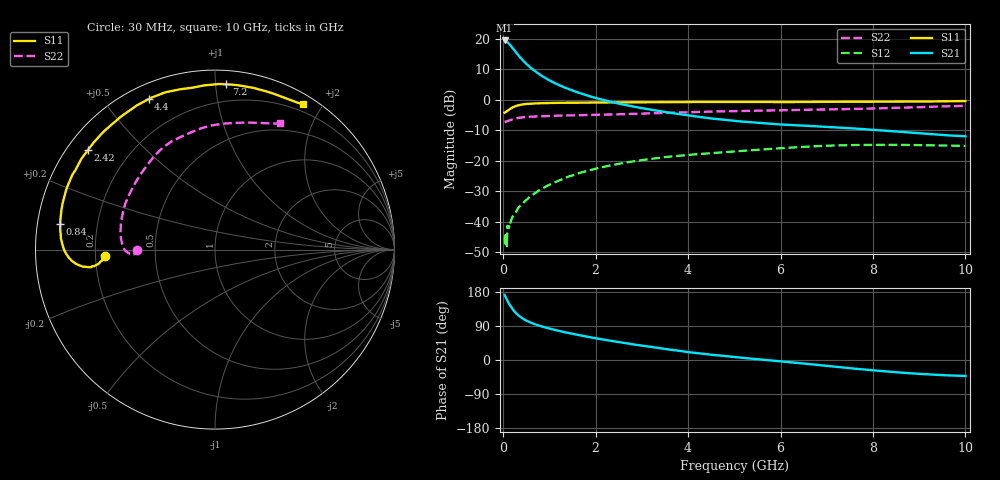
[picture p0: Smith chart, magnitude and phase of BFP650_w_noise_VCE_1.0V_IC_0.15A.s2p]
! Infineon Technologies  Discrete & RF Semiconductors
! BFP650
! VCE =  1.0 V,  IC = 0.15 A
! Common Emitter S-Parameters:  Jan 2016
# GHz  S  MA  R  50
!  f  S11  S21  S12  S22
! GHz  MAG  ANG  MAG  ANG  MAG  ANG  MAG  ANG
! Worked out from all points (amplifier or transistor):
!   229 points, 30 MHz to 10 GHz, reference 50 ohm
!   highest |S21| = 19.4 dB at 30 MHz (marker M1)
!   |S21| within 3 dB of that: start of sweep to 230.1 MHz
!   unconditionally stable (mu >= 1): start of sweep to end of sweep
!   at 280 MHz: K = 2.08, MAG = 20.1 dB, |S12| = -36.7 dB
!   at 1.78 GHz: K = 1.38, MAG = 8.9 dB, |S12| = -23.5 dB
!   at 10 GHz: K = 1.19, MAG = -1.1 dB, |S12| = -15.1 dB
!   lowest NFmin = 1.88 dB at 450 MHz
!   S11 on the Smith chart (normalised r, x): 30 MHz: 0.24, -0.03; 840 MHz: 0.07, +0.08; 2.42 GHz: 0.06, +0.34; 4.4 GHz: 0.06, +0.65; 7.2 GHz: 0.09, +1.07; 10 GHz: 0.11, +1.77
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0.03  0.6126 -176.7  9.295 171.7  0.0057 37.4  0.433 -179.8
0.07  0.6405 -174.1  8.95 161.6  0.0058 43.2  0.4397 -177.7
0.08  0.6447 -173.7  8.843 158.8  0.004 45.0  0.44 -177.9
0.09  0.6547 -173.0  8.719 156.5  0.0086 44.5  0.4438 -177.3
0.11  0.6715 -172.5  8.443 151.9  0.0079 48.5  0.4515 -176.7
0.15  0.7065 -172.0  7.825 143.4  0.0095 57.7  0.4622 -176.8
0.2  0.7439 -172.7  7.041 134.3  0.0121 61.2  0.4754 -177.2
0.3  0.7988 -175.4  5.65 120.8  0.0157 62.5  0.4981 -179.1
0.36  0.8191 -177.2  4.981 114.8  0.0181 63.0  0.5069 179.5
0.45  0.8411 -180.0  4.203 107.3  0.021 61.7  0.5156 177.3
0.6  0.8604 175.9  3.293 98.3  0.0265 63.9  0.5262 173.9
0.84  0.8747 170.5  2.432 88.3  0.0351 63.4  0.5358 169.1
1.2  0.8875 163.2  1.738 76.8  0.0472 60.9  0.5467 162.6
1.7  0.896 153.9  1.247 64.1  0.0647 55.9  0.559 154.6
2.42  0.8997 142.0  0.887 48.7  0.0867 47.5  0.5737 143.2
3.4  0.9056 127.0  0.645 31.1  0.1123 35.4  0.6025 129.2
4.4  0.9162 113.8  0.503 15.4  0.1316 24.2  0.6357 117.8
5.1  0.9174 106.4  0.442 6.7  0.1438 17.5  0.6504 110.9
6.8  0.9197 90.6  0.365 -13.0  0.1732 -0.2  0.6867 93.6
7.2  0.9228 86.1  0.351 -17.9  0.1777 -4.9  0.6952 89.7
8.4  0.9268 71.8  0.305 -31.3  0.1822 -18.0  0.7287 76.1
10  0.9468 58.7  0.251 -42.1  0.1753 -29.8  0.7911 62.7
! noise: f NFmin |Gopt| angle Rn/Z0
0.45  1.88  0.66  -171  0.06
0.9  1.91  0.67  -164  0.07
1.9  2.19  0.7  -149  0.14
2.4  2.45  0.69  -139  0.22
3.5  2.88  0.69  -118  0.56
